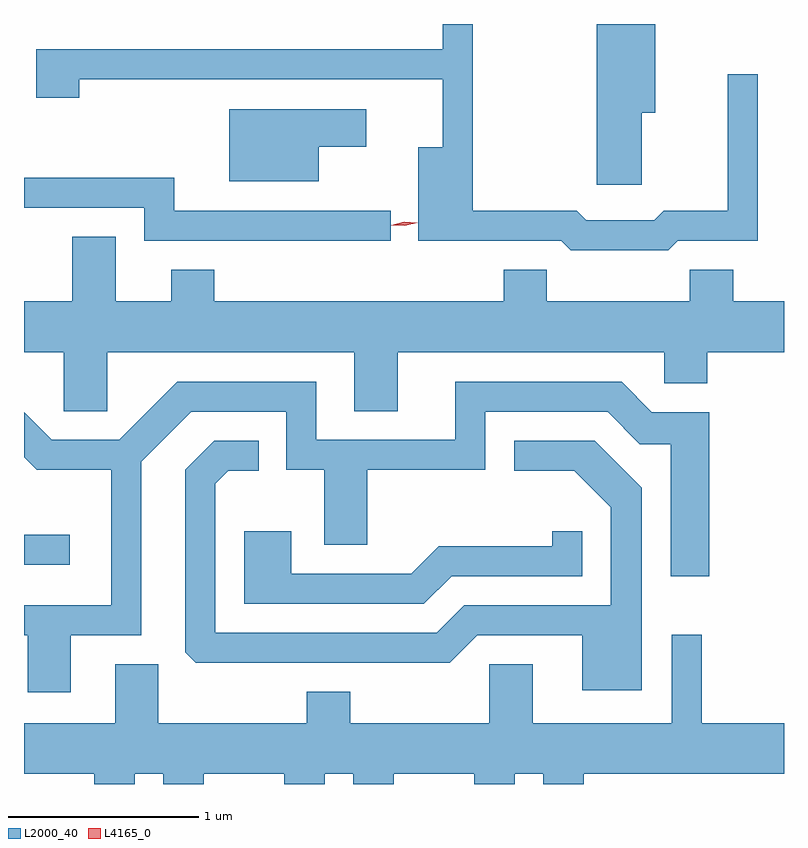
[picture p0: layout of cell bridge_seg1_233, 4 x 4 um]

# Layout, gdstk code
import gdstk
lib = gdstk.Library(unit=1e-6, precision=1e-09)
def R(c, l, rs):  # rectangles x0, y0, x1, y1
    for r in rs: c.add(gdstk.rectangle(r[:2], r[2:], *l))
def P(c, l, *ps):  # polygons
    for p in ps: c.add(gdstk.Polygon(p, *l))
L2000_40 = (2000, 40)
L4165_0 = (4165, 0)

bridge_seg1_233 = lib.new_cell('bridge_seg1_233')
R(bridge_seg1_233, L2000_40, [(786.482,878.476,786.723,878.634)])
P(bridge_seg1_233, L2000_40, [(789.922,880.181),(790.344,880.181),(790.344,881.058),(790.186,881.058),(790.186,880.339),(789.849,880.339),(789.799,880.289),(789.442,880.289),(789.392,880.339),(788.844,880.339),(788.844,881.323),(788.686,881.323),(788.686,881.189),(786.546,881.189),(786.546,880.936),(786.774,880.936),(786.774,881.031),(788.686,881.031),(788.686,880.674),(788.556,880.674),(788.556,880.181),(789.309,880.181),(789.359,880.131),(789.872,880.131)],
  [(789.734,880.856),(789.804,880.856),(789.804,881.323),(789.496,881.323),(789.496,880.476),(789.734,880.476)],
  [(788.034,880.676),(788.284,880.676),(788.284,880.874),(787.561,880.874),(787.561,880.496),(788.034,880.496)],
  [(788.413,880.339),(787.274,880.339),(787.274,880.514),(786.482,880.514),(786.482,880.356),(787.116,880.356),(787.116,880.181),(788.413,880.181)],
  [(786.919,879.596),(788.221,879.596),(788.221,879.286),(788.449,879.286),(788.449,879.596),(789.851,879.596),(789.851,879.431),(790.079,879.431),(790.079,879.596),(790.482,879.596),(790.482,879.864),(790.214,879.864),(790.214,880.029),(789.986,880.029),(789.986,879.864),(789.234,879.864),(789.234,880.029),(789.006,880.029),(789.006,879.864),(787.484,879.864),(787.484,880.029),(787.256,880.029),(787.256,879.864),(786.964,879.864),(786.964,880.204),(786.736,880.204),(786.736,879.864),(786.482,879.864),(786.482,879.596),(786.691,879.596),(786.691,879.286),(786.919,879.286)],
  [(786.729,878.106),(787.099,878.106),(787.099,879.019),(787.362,879.281),(787.861,879.281),(787.861,878.976),(788.061,878.976),(788.061,878.581),(788.289,878.581),(788.289,878.976),(788.909,878.976),(788.909,879.281),(789.554,879.281),(789.724,879.111),(789.886,879.111),(789.886,878.416),(790.089,878.416),(790.089,879.279),(789.787,879.279),(789.627,879.439),(788.751,879.439),(788.751,879.134),(788.019,879.134),(788.019,879.439),(787.289,879.439),(786.984,879.134),(786.627,879.134),(786.482,879.279),(786.482,879.043),(786.549,878.976),(786.941,878.976),(786.941,878.264),(786.482,878.264),(786.482,878.106),(786.501,878.106),(786.501,877.806),(786.729,877.806)],
  [(789.734,878.882),(789.487,879.129),(789.063,879.129),(789.063,878.971),(789.379,878.971),(789.571,878.779),(789.571,878.264),(788.799,878.264),(788.654,878.119),(787.489,878.119),(787.489,878.904),(787.557,878.971),(787.718,878.971),(787.718,879.129),(787.484,879.129),(787.331,878.977),(787.331,878.017),(787.387,877.961),(788.722,877.961),(788.867,878.106),(789.421,878.106),(789.421,877.816),(789.734,877.816)],
  [(788.732,878.416),(789.419,878.416),(789.419,878.653),(789.261,878.653),(789.261,878.574),(788.664,878.574),(788.519,878.429),(787.889,878.429),(787.889,878.654),(787.641,878.654),(787.641,878.271),(788.587,878.271)],
  [(788.064,877.376),(788.216,877.376),(788.216,877.323),(788.429,877.323),(788.429,877.376),(788.851,877.376),(788.851,877.323),(789.064,877.323),(789.064,877.376),(789.216,877.376),(789.216,877.323),(789.429,877.323),(789.429,877.376),(790.482,877.376),(790.482,877.644),(790.049,877.644),(790.049,878.108),(789.891,878.108),(789.891,877.644),(789.159,877.644),(789.159,877.954),(788.931,877.954),(788.931,877.644),(788.199,877.644),(788.199,877.809),(787.971,877.809),(787.971,877.644),(787.189,877.644),(787.189,877.954),(786.961,877.954),(786.961,877.644),(786.482,877.644),(786.482,877.376),(786.851,877.376),(786.851,877.323),(787.064,877.323),(787.064,877.376),(787.216,877.376),(787.216,877.323),(787.429,877.323),(787.429,877.376),(787.851,877.376),(787.851,877.323),(788.064,877.323)])
P(bridge_seg1_233, L4165_0, [(788.485,880.261),(788.415,880.264),(788.415,880.265),(788.415,880.265),(788.483,880.281),(788.552,880.278),(788.553,880.278),(788.552,880.277)])

lib.write_gds('bridge_seg1_233.gds')
